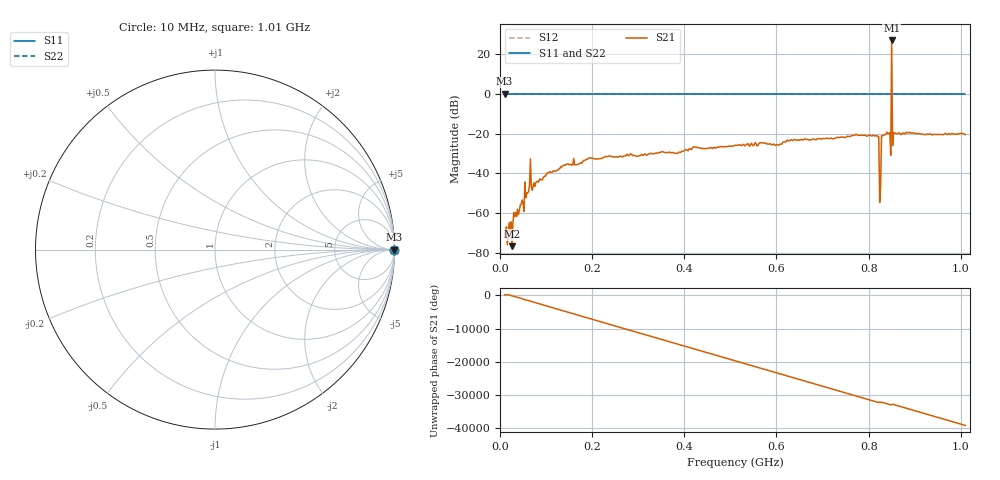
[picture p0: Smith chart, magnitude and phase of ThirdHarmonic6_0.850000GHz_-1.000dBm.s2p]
! 8/16/2025 4:08:53 AM
! C:\ANRITSUVNA\TEMP\TEMP.S2P
! CHANNEL.1
! TR.MEASUREMENT
! RAW.DATA
! RF.CORRECTION.OFF
! AVERAGING.OFF
! IF.BANDWIDTH: 5KHZ
! SWEEPTYPE:  FREQ.SWEEP(Linear)
! Reference Plane Port Info
! PORT:  PORT1  PORT2
! DISTANCE:  0  m  0  m
! TIME:  0  s  0  s
! PHASE.OFFSET:  0  deg.  0  deg.
! LOSS:  0  dB  0  dB
! REF.LOSS:  0  dB  0  dB
! REF.FREQ:  0  Hz  0  Hz
! Power Info
! POWER:  -20  dBm  -20  dBm
! EFF.POWER:  -20  dBm  -20  dBm
! SOURCE.ATTEN:  0  dB  0  dB
! TEST.ATTEN:  0  dB  0  dB
# GHZ S RI R 50.0
! FREQ.GHZ  S11RE  S11IM  S21RE  S21IM  S12RE  S12IM  S22RE  S22IM
!; PortSelection: Port_12
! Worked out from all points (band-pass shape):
!   501 points, 10 MHz to 1.01 GHz, reference 50 ohm
!   highest |S21| = 26.81 dB at 850 MHz (marker M1); lowest = -76.7 dB at 26 MHz (marker M2)
!   |S21| within 3 dB of the highest: 849.8962 MHz to 850.1134 MHz (217.2 kHz wide, 0.0256 % of centre)
!   lowest |S11| = 0.0 dB at 10 MHz (marker M3)
!   |S11| at or under -10 dB: nowhere
!   |S22| runs from 0.0 to 0.0 dB; largest |S21 - S12| = 21
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0.01  1 0  -0.000257 3.64e-05  1 0  1 0
0.026  1 0  -0.000139 -4.79e-05  1 0  1 0
0.034  1 0  -1.85e-05 -0.00104  1 0  1 0
0.064  1 0  -0.0049 0.000314  1 0  1 0
0.07  1 0  -0.00126 -0.0035  1 0  1 0
0.072  1 0  -0.00472 0.000955  1 0  1 0
0.106  1 0  -0.00769 -0.00686  1 0  1 0
0.178  1 0  -0.0177 -0.00289  1 0  1 0
0.344  1 0  0.0292 -0.0139  1 0  1 0
0.51  1 0  -0.0382 0.0326  1 0  1 0
0.678  1 0  -0.0594 -0.0401  1 0  1 0
0.818  1 0  0.0684 -0.0571  1 0  1 0
0.822  1 0  -0.0806 0.0245  1 0  1 0
0.824  1 0  0.0017 -0.000734  1 0  1 0
0.828  1 0  0.0157 -0.0862  1 0  1 0
0.832  1 0  -0.0478 0.0784  1 0  1 0
0.844  1 0  0.1008 -0.000154  1 0  1 0
0.846  1 0  0.0117 -0.1045  1 0  1 0
0.85  1 0  13.51 -17.23  1 0  1 0
0.854  1 0  0.0626 -0.0843  1 0  1 0
0.856  1 0  -0.0706 -0.0737  1 0  1 0
1.01  1 0  -0.0584 0.0732  1 0  1 0
